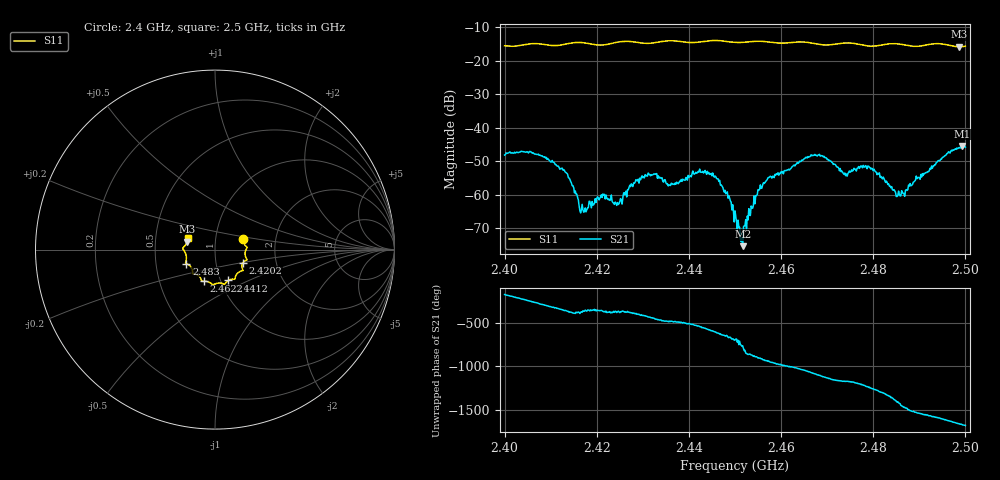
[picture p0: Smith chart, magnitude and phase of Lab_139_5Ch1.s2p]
# Hz S RI R 50
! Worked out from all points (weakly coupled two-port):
!   601 points, 2.4 GHz to 2.5 GHz, reference 50 ohm
!   highest |S21| = -45.48 dB at 2.4993 GHz (marker M1); lowest = -75.4 dB at 2.4517 GHz (marker M2)
!   lowest |S11| = -15.8 dB at 2.4987 GHz (marker M3), VSWR 1.39, Z = 36.4 + j3.29 ohm
!   |S11| at or under -10 dB: start of sweep to end of sweep
!   S12 and S22 are empty: the file has one direction only
!   S11 on the Smith chart (normalised r, x): 2.4 GHz: 1.36, +0.17; 2.4202 GHz: 1.35, -0.20; 2.4412 GHz: 1.09, -0.39; 2.4622 GHz: 0.83, -0.30; 2.483 GHz: 0.72, -0.12; 2.5 GHz: 0.73, +0.09
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2.4e9  0.1563 0.0602  -0.00388 -0.000411  0 0  0 0
2.410667e9  0.1679 -0.015  0.00232 0.00195  0 0  0 0
2.413667e9  0.1733 -0.047  0.00201 -0.00025  0 0  0 0
2.416667e9  0.1776 -0.0582  0.000579 -0.000136  0 0  0 0
2.420167e9  0.1563 -0.0719  0.000929 5.96e-05  0 0  0 0
2.424333e9  0.1535 -0.1095  0.000649 -0.000242  0 0  0 0
2.4285e9  0.1478 -0.1185  0.00144 -0.000851  0 0  0 0
2.433333e9  0.1133 -0.1523  -0.000407 -0.00188  0 0  0 0
2.436e9  0.1108 -0.1653  -0.000775 -0.00113  0 0  0 0
2.441167e9  0.0751 -0.1715  -0.00197 -0.000488  0 0  0 0
2.446167e9  0.0514 -0.1939  -0.000409 0.00168  0 0  0 0
2.45e9  0.0267 -0.1862  0.000532 0.000214  0 0  0 0
2.451667e9  0.0102 -0.1879  0.000122 -0.000118  0 0  0 0
2.4555e9  -0.0121 -0.1951  -0.0014 0.000127  0 0  0 0
2.462167e9  -0.0628 -0.1765  0.000595 0.0024  0 0  0 0
2.466667e9  -0.0768 -0.167  0.0038 0.000418  0 0  0 0
2.483e9  -0.1592 -0.078  -0.000478 0.00146  0 0  0 0
2.483333e9  -0.161 -0.0775  -0.000318 0.00142  0 0  0 0
2.486333e9  -0.1618 -0.0654  0.000995 -0.000376  0 0  0 0
2.498667e9  -0.1557 0.044  -0.00392 0.00322  0 0  0 0
2.499333e9  -0.1535 0.0535  -0.00333 0.00414  0 0  0 0
2.5e9  -0.1525 0.0626  -0.00264 0.0044  0 0  0 0
